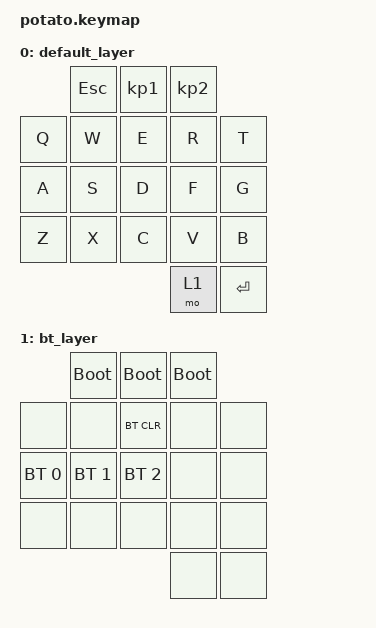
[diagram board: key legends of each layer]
#include <behaviors.dtsi>
#include <dt-bindings/zmk/keys.h>
#include <dt-bindings/zmk/bt.h>

/ {
    keymap {
        compatible = "zmk,keymap";

        default_layer {
            bindings = <
                            &kp ESC     &kp KP_N1   &kp KP_N2
                &kp Q       &kp W       &kp E       &kp R       &kp T
                &kp A       &kp S       &kp D       &kp F       &kp G
                &kp Z       &kp X       &kp C       &kp V       &kp B
                                                    &mo 1       &kp RET
            >;
        };

        bt_layer {
            bindings = <
                                &bootloader     &bootloader     &bootloader
                &none           &none           &bt BT_CLR      &none           &none
                &bt BT_SEL 0    &bt BT_SEL 1    &bt BT_SEL 2    &none           &none
                &none           &none           &none           &none           &none
                                                                &none           &none
            >;
        };
    };
};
